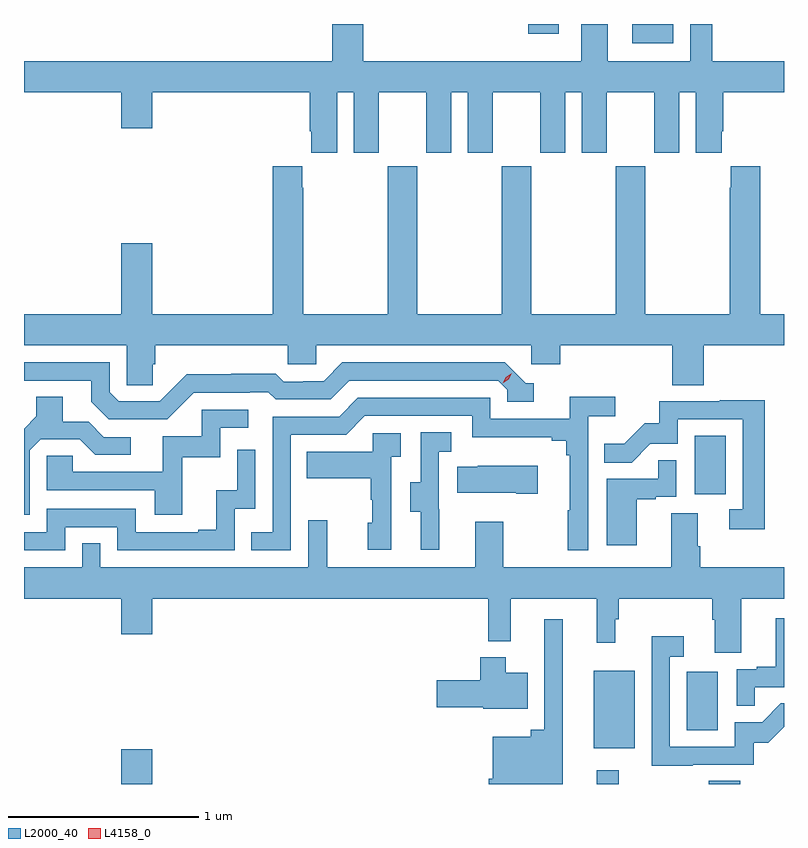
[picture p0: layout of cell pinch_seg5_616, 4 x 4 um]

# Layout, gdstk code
import gdstk
lib = gdstk.Library(unit=1e-6, precision=1e-09)
def R(c, l, rs):  # rectangles x0, y0, x1, y1
    for r in rs: c.add(gdstk.rectangle(r[:2], r[2:], *l))
def P(c, l, *ps):  # polygons
    for p in ps: c.add(gdstk.Polygon(p, *l))
L2000_40 = (2000, 40)
L4158_0 = (4158, 0)

pinch_seg5_616 = lib.new_cell('pinch_seg5_616')
R(pinch_seg5_616, L2000_40, [(1076.096,866.44,1076.26,866.623), (1078.598,866.44,1078.715,866.512), (1079.189,866.44,1079.354,866.456), (1078.583,866.627,1078.798,867.037), (1079.072,866.724,1079.236,867.031), (1079.114,867.966,1079.278,868.273), (1078.238,870.39,1078.399,870.44)])
P(pinch_seg5_616, L2000_40, [(1079.002,870.44),(1078.883,870.44),(1078.883,870.439),(1078.785,870.439),(1078.785,870.338),(1079.002,870.338)],
  [(1077.232,870.08),(1077.32,870.08),(1077.32,869.763),(1077.451,869.763),(1077.451,870.08),(1077.701,870.08),(1077.701,869.763),(1077.832,869.763),(1077.832,870.08),(1077.92,870.08),(1077.92,869.763),(1078.051,869.763),(1078.051,870.08),(1078.301,870.08),(1078.301,869.763),(1078.432,869.763),(1078.432,870.08),(1078.52,870.08),(1078.52,869.763),(1078.651,869.763),(1078.651,870.08),(1078.901,870.08),(1078.901,869.763),(1079.032,869.763),(1079.032,870.08),(1079.12,870.08),(1079.12,869.763),(1079.257,869.763),(1079.257,869.875),(1079.264,869.875),(1079.264,870.08),(1079.584,870.08),(1079.584,870.244),(1079.207,870.244),(1079.207,870.44),(1079.091,870.44),(1079.091,870.244),(1078.657,870.244),(1078.657,870.439),(1078.517,870.439),(1078.517,870.244),(1077.37,870.244),(1077.37,870.44),(1077.206,870.44),(1077.206,870.244),(1075.584,870.244),(1075.584,870.08),(1076.096,870.08),(1076.096,869.892),(1076.26,869.892),(1076.26,870.08),(1077.089,870.08),(1077.089,869.875),(1077.095,869.875),(1077.095,869.763),(1077.232,869.763)],
  [(1076.261,868.65),(1076.276,868.65),(1076.276,868.748),(1076.973,868.748),(1076.973,868.65),(1077.123,868.65),(1077.123,868.748),(1078.254,868.748),(1078.254,868.65),(1078.406,868.65),(1078.406,868.748),(1078.997,868.748),(1078.997,868.54),(1079.162,868.54),(1079.162,868.748),(1079.584,868.748),(1079.584,868.912),(1079.459,868.912),(1079.459,869.692),(1079.303,869.692),(1079.303,869.579),(1079.299,869.579),(1079.299,868.912),(1078.854,868.912),(1078.854,869.692),(1078.699,869.692),(1078.699,868.912),(1078.254,868.912),(1078.254,869.692),(1078.099,869.692),(1078.099,868.912),(1077.654,868.912),(1077.654,869.692),(1077.499,869.692),(1077.499,868.912),(1077.054,868.912),(1077.054,869.579),(1077.049,869.579),(1077.049,869.692),(1076.894,869.692),(1076.894,868.912),(1076.26,868.912),(1076.26,869.287),(1076.096,869.287),(1076.096,868.912),(1075.584,868.912),(1075.584,868.748),(1076.124,868.748),(1076.124,868.54),(1076.261,868.54)],
  [(1076.478,868.5),(1076.771,868.5),(1076.771,868.503),(1076.87,868.503),(1076.909,868.464),(1077.198,868.464),(1077.297,868.563),(1078.08,868.563),(1078.128,868.515),(1078.128,868.452),(1078.267,868.452),(1078.267,868.548),(1078.224,868.548),(1078.113,868.659),(1077.26,868.659),(1077.161,868.56),(1077.054,868.56),(1077.054,868.557),(1076.951,868.557),(1076.909,868.6),(1076.676,868.6),(1076.676,868.597),(1076.44,868.597),(1076.298,868.455),(1076.082,868.455),(1076.034,868.503),(1076.034,868.659),(1075.584,868.659),(1075.584,868.563),(1075.937,868.563),(1075.937,868.453),(1076.031,868.359),(1076.337,868.359)],
  [(1076.988,868.278),(1077.279,868.278),(1077.378,868.377),(1077.942,868.377),(1077.942,868.265),(1078.361,868.265),(1078.361,868.246),(1078.438,868.246),(1078.438,868.169),(1078.457,868.169),(1078.457,867.881),(1078.446,867.881),(1078.446,867.669),(1078.554,867.669),(1078.554,868.376),(1078.696,868.376),(1078.696,868.478),(1078.457,868.478),(1078.457,868.362),(1078.038,868.362),(1078.038,868.473),(1077.341,868.473),(1077.242,868.374),(1076.892,868.374),(1076.892,867.765),(1076.779,867.765),(1076.779,867.669),(1076.988,867.669)],
  [(1075.614,868.197),(1075.671,868.254),(1075.877,868.254),(1075.958,868.173),(1076.146,868.173),(1076.146,868.266),(1076.004,868.266),(1075.924,868.346),(1075.789,868.346),(1075.789,868.478),(1075.649,868.478),(1075.649,868.376),(1075.584,868.311),(1075.584,867.858),(1075.614,867.858)],
  [(1079.483,868.46),(1079.245,868.46),(1079.245,868.455),(1078.927,868.455),(1078.927,868.338),(1078.85,868.338),(1078.743,868.231),(1078.639,868.231),(1078.639,868.132),(1078.783,868.132),(1078.881,868.23),(1079.025,868.23),(1079.025,868.359),(1079.367,868.359),(1079.367,867.885),(1079.295,867.885),(1079.295,867.78),(1079.483,867.78)],
  [(1076.417,868.161),(1076.616,868.161),(1076.616,868.314),(1076.764,868.314),(1076.764,868.41),(1076.52,868.41),(1076.52,868.269),(1076.315,868.269),(1076.315,868.083),(1075.841,868.083),(1075.841,868.167),(1075.704,868.167),(1075.704,867.987),(1076.273,867.987),(1076.273,867.858),(1076.417,867.858)],
  [(1077.77,867.885),(1077.768,867.885),(1077.768,868.189),(1077.832,868.189),(1077.832,868.292),(1077.672,868.292),(1077.672,868.029),(1077.617,868.029),(1077.617,867.874),(1077.671,867.874),(1077.671,867.672),(1077.77,867.672)],
  [(1077.516,868.163),(1077.568,868.163),(1077.568,868.287),(1077.42,868.287),(1077.42,868.189),(1077.073,868.189),(1077.073,868.049),(1077.408,868.049),(1077.408,867.935),(1077.418,867.935),(1077.418,867.816),(1077.392,867.816),(1077.392,867.672),(1077.516,867.672)],
  [(1075.8,867.792),(1076.076,867.792),(1076.076,867.669),(1076.694,867.669),(1076.694,867.888),(1076.802,867.888),(1076.802,868.198),(1076.706,868.198),(1076.706,867.986),(1076.597,867.986),(1076.597,867.778),(1076.501,867.778),(1076.501,867.765),(1076.172,867.765),(1076.172,867.888),(1075.704,867.888),(1075.704,867.765),(1075.584,867.765),(1075.584,867.669),(1075.8,867.669)],
  [(1078.81,867.939),(1078.91,867.939),(1078.91,867.951),(1079.016,867.951),(1079.016,868.145),(1078.921,868.145),(1078.921,868.047),(1078.652,868.047),(1078.652,867.696),(1078.81,867.696)],
  [(1078.288,868.114),(1077.973,868.114),(1077.973,868.111),(1077.865,868.111),(1077.865,867.974),(1078.175,867.974),(1078.175,867.967),(1078.288,867.967)],
  [(1079.359,867.416),(1079.584,867.416),(1079.584,867.58),(1079.144,867.58),(1079.144,867.692),(1079.131,867.692),(1079.131,867.866),(1078.991,867.866),(1078.991,867.58),(1078.107,867.58),(1078.107,867.82),(1077.959,867.82),(1077.959,867.58),(1077.179,867.58),(1077.179,867.829),(1077.081,867.829),(1077.081,867.58),(1075.986,867.58),(1075.986,867.707),(1075.89,867.707),(1075.89,867.58),(1075.584,867.58),(1075.584,867.416),(1076.096,867.416),(1076.096,867.228),(1076.26,867.228),(1076.26,867.416),(1078.027,867.416),(1078.027,867.191),(1078.145,867.191),(1078.145,867.416),(1078.598,867.416),(1078.598,867.183),(1078.697,867.183),(1078.697,867.308),(1078.715,867.308),(1078.715,867.416),(1079.207,867.416),(1079.207,867.304),(1079.219,867.304),(1079.219,867.13),(1079.359,867.13)],
  [(1079.429,866.949),(1079.584,866.949),(1079.584,867.313),(1079.54,867.313),(1079.54,867.058),(1079.441,867.058),(1079.441,867.045),(1079.334,867.045),(1079.334,866.851),(1079.429,866.851)],
  [(1078.42,867.307),(1078.323,867.307),(1078.323,866.725),(1078.25,866.725),(1078.25,866.689),(1078.05,866.689),(1078.05,866.467),(1078.03,866.467),(1078.03,866.44),(1078.42,866.44)],
  [(1079.105,866.541),(1079.424,866.541),(1079.424,866.658),(1079.5,866.658),(1079.584,866.742),(1079.584,866.864),(1079.567,866.864),(1079.469,866.766),(1079.325,866.766),(1079.325,866.637),(1078.983,866.637),(1078.983,867.111),(1079.056,867.111),(1079.056,867.217),(1078.887,867.217),(1078.887,866.536),(1079.105,866.536)],
  [(1078.234,867.025),(1078.12,867.025),(1078.12,867.106),(1077.986,867.106),(1077.986,866.985),(1077.756,866.985),(1077.756,866.843),(1078.002,866.843),(1078.002,866.837),(1078.234,866.837)])
P(pinch_seg5_616, L4158_0, [(1078.104,868.55),(1078.104,868.55),(1078.12,868.582),(1078.151,868.601),(1078.151,868.601),(1078.151,868.601),(1078.135,868.569),(1078.104,868.55)])

lib.write_gds('pinch_seg5_616.gds')
